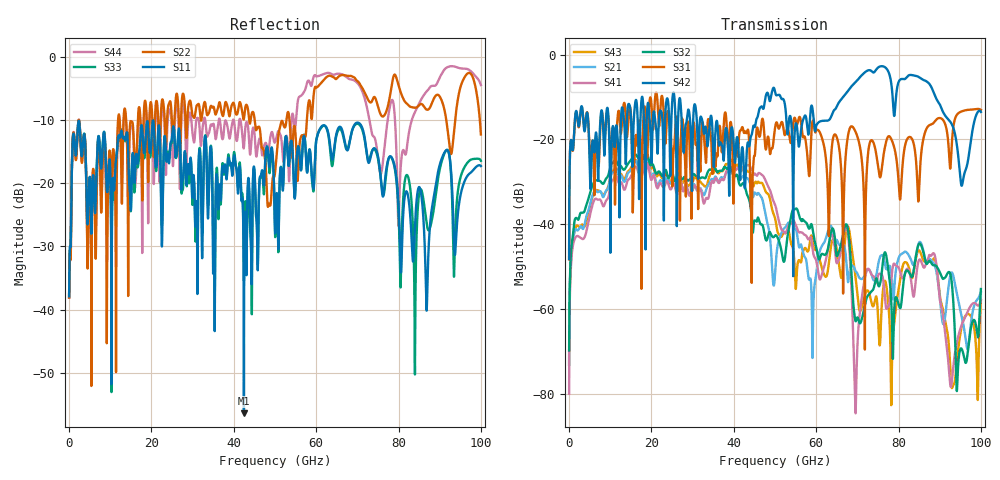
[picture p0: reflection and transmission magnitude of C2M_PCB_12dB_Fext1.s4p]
! Info: Touchstone file created by Circ.  Input file=Intel_C2M_200G_1p5in_202204012_staggered.circ
# Hz S RI R 50
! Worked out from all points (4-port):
!   10000 points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, 10 MHz to 100 GHz, reference 50 ohm
!   strongest paths, dB at 10 MHz, 25.01 GHz, 50.01 GHz, 75.01 GHz, 100 GHz:
!     S42: -48.2, -11.6, -8.7, -3.1, -13.5
!     S31: -48.3, -29.5, -17.3, -26.2, -13.0
!     S32: -69.8, -27.7, -42.7, -54.1, -55.3
!     S41: -79.9, -31.1, -35.4, -52.2, -57.8
!     S21: -73.1, -30.1, -51.8, -49.7, -56.1
!     S43: -73.1, -29.1, -38.5, -61.5, -57.9
!   lowest |S11| = -56.5 dB at 42.46 GHz (marker M1), VSWR 1.00, Z = 49.9 - j0.122 ohm
!   |S11| at or under -10 dB: start of sweep to end of sweep
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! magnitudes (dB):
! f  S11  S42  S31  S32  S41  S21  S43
! 10 MHz  -37.9  -48.2  -48.3  -69.8  -79.9  -73.1  -73.1
! 11.04 GHz  -20.3  -21.7  -26.7  -25.0  -28.9  -27.2  -26.9
! 42.46 GHz  -56.5  -27.6  -18.5  -30.5  -26.5  -28.7  -26.5
! 67.34 GHz  -14.5  -9.1  -22.0  -40.0  -40.7  -49.0  -41.3
! 69.54 GHz  -10.5  -6.5  -18.1  -62.8  -84.2  -51.0  -52.3
! 72.57 GHz  -16.5  -3.7  -23.6  -56.8  -50.5  -50.6  -55.7
! 100 GHz  -17.3  -13.5  -13.0  -55.3  -57.8  -56.1  -57.9
